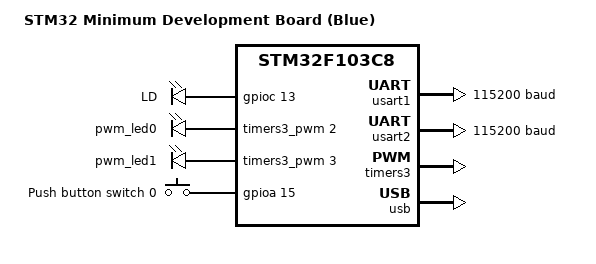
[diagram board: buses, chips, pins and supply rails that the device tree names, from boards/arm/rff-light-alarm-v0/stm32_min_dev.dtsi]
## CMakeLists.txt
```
cmake_minimum_required(VERSION 3.13.1)

set(BOARD_ROOT ${CMAKE_CURRENT_LIST_DIR})
set(BOARD rff-light-alarm-v0)

include($ENV{ZEPHYR_BASE}/cmake/app/boilerplate.cmake NO_POLICY_SCOPE)
project(light-alarm)

target_compile_options(app PRIVATE "-lm")

target_link_libraries(app PUBLIC -lm)
#target_link_libraries(app PUBLIC -lc)
target_link_libraries(app PUBLIC -lgcc)


# Add your source file to the "app" target. This must come after
# the boilerplate code, which defines the target.
target_sources(app PRIVATE src/main.c)
target_sources(app PRIVATE src/button-ctl.c)
target_sources(app PRIVATE src/status-led-ctl.c)
target_sources(app PRIVATE src/bt/bt-hm11-ctl.c)
target_sources(app PRIVATE src/pwm/tim3-pwm.c)
target_sources(app PRIVATE src/rtc/rtc-ctl.c)
target_sources(app PRIVATE src/brightness-model/brightness-model.c)
```

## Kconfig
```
# Config for counter alarm sample

# Copyright (c) 2020 RustyFennecFox (RFF)
# SPDX-License-Identifier: Apache-2.0

mainmenu "RFF light alarrm application"

config ALARM_TESTING_SESSION
	bool "Set default delays values for manual testing"
	help
	  Set default values of rise time, hold max/mid time for manual testing

source "Kconfig.zephyr"
```

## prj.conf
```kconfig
CONFIG_STDOUT_CONSOLE=y
CONFIG_PRINTK=y
# CONFIG_PWM is not set
CONFIG_LOG=y

CONFIG_UART_2=y
CONFIG_UART_INTERRUPT_DRIVEN=y

CONFIG_NEWLIB_LIBC=y
CONFIG_STACK_SENTINEL=y
```

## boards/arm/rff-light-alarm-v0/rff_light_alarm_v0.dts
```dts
/*
 * Copyright (c) 2019, embedjournal.com
 *
 * SPDX-License-Identifier: Apache-2.0
 */

/dts-v1/;
#include <st/f1/stm32f103X8.dtsi>

/ {
	model = "STM32 Minimum Development Board (Blue)";
	compatible = "st,stm32_min_dev_blue", "st,stm32f103c8";

	chosen {
		zephyr,console = &usart1;
		zephyr,shell-uart = &usart1;
		zephyr,sram = &sram0;
		zephyr,flash = &flash0;
	};

	leds {
		compatible = "gpio-leds";
		led: led {
			gpios = <&gpioc 13 GPIO_INT_ACTIVE_HIGH>;
			label = "LD";
		};
	};

//	pwmleds {
//		compatible = "pwm-leds";
//		pwm_led0: pwm_led_0 {
//			pwms = <&timers3_pwm 2 1000>;
//		};
//		pwm_led1: pwm_led_1 {
//			pwms = <&timers3_pwm 3 1000>;
//		};
//	};

	buttons {
		compatible = "gpio-keys";
		button0: button_0 {
			gpios = <&gpioa 15 GPIO_INT_ACTIVE_HIGH>;
			label = "Push button switch 0";
		};
	};

	aliases {
		led0 = &led;
		sw0 = &button0;
//		pwm-led0 = &pwm_led0;
//		pwm-led1 = &pwm_led1;
	};
};

&usart1 {
	current-speed = <115200>;
	status = "okay";
};

&usart2 {
	current-speed = <9600>;
	status = "okay";
};

&usart3 {
	current-speed = <115200>;
	status = "disabled";
};

&i2c1 {
	status = "disabled";
	clock-frequency = <I2C_BITRATE_FAST>;
};

&i2c2 {
	status = "disabled";
	clock-frequency = <I2C_BITRATE_FAST>;
};

&spi1 {
	status = "disabled";
};

&spi2 {
	status = "disabled";
};

&timers1 {
	status = "disabled";

	pwm {
		status = "disabled";
	};
};

//&timers3 {
//	status = "okay";
//
//	timers3_pwm: pwm {
//		status = "okay";
//	};
//};

&usb {
	status = "okay";
};
```

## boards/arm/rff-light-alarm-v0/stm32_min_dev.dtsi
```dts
/*
 * Copyright (c) 2019, embedjournal.com
 *
 * SPDX-License-Identifier: Apache-2.0
 */

/dts-v1/;
#include <st/f1/stm32f103X8.dtsi>

/ {
	model = "STM32 Minimum Development Board (Blue)";
	compatible = "st,stm32_min_dev_blue", "st,stm32f103c8";

	chosen {
		zephyr,console = &usart1;
		zephyr,shell-uart = &usart1;
		zephyr,sram = &sram0;
		zephyr,flash = &flash0;
	};

	leds {
		compatible = "gpio-leds";
		led: led {
			gpios = <&gpioc 13 GPIO_ACTIVE_HIGH>;
			label = "LD";
		};
	};

	pwmleds {
		compatible = "pwm-leds";
		pwm_led0: pwm_led_0 {
			pwms = <&timers3_pwm 2 1000000>;
		};
		pwm_led1: pwm_led_1 {
			pwms = <&timers3_pwm 3 1000000>;
		};
	};

	buttons {
		compatible = "gpio-keys";
		button0: button_0 {
			gpios = <&gpioa 15 GPIO_ACTIVE_HIGH>;
			label = "Push button switch 0";
		};
	};

	aliases {
		led0 = &led;
		sw0 = &button0;
		pwm-led0 = &pwm_led0;
		pwm-led1 = &pwm_led1;
	};
};

&usart1 {
	current-speed = <115200>;
	status = "okay";
};

&usart2 {
	current-speed = <115200>;
	status = "okay";
};

&usart3 {
	current-speed = <115200>;
	status = "disabled";
};

&i2c1 {
	status = "disabled";
	clock-frequency = <I2C_BITRATE_FAST>;
};

&i2c2 {
	status = "disabled";
	clock-frequency = <I2C_BITRATE_FAST>;
};

&spi1 {
	status = "disabled";
};

&spi2 {
	status = "disabled";
};

&timers1 {
	status = "disabled";

	pwm {
		status = "disabled";
	};
};

&timers3 {
	status = "okay";

	timers3_pwm: pwm {
		status = "okay";
	};
};

&usb {
	status = "okay";
};
```

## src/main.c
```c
#include <zephyr.h>
#include <sys/printk.h>
#include <drivers/gpio.h>
#include <sys/__assert.h>
#include <kernel.h>
#include <string.h>
#include <stdlib.h>
#include <stdio.h>

#include "pwm/tim3-pwm.h"
#include "rtc/rtc-ctl.h"
#include "brightness-model/brightness-unified-model.h"
#include "brightness-ops.h"
#include "button-ctl.h"
#include "status-led-ctl.h"
#include "bt/bt-hm11-ctl.h"
#include "alarm-params.h"
#include "lamp-params.h"
#include "core-model/core-model.h"
#include "dynamic-assert.h"


struct alarm_info {
	/* alarm thread related structures */
	struct k_thread alarm_worker_data;
	k_tid_t alarm_worker_tid;

	bool disarm_alarm;
};
K_MUTEX_DEFINE(disarm_mtx);

static struct alarm_info alarm_info;

#define ALARM_THREAD_PRIORITY		(CONFIG_NUM_PREEMPT_PRIORITIES - 1) //(CONFIG_NUM_PREEMPT_PRIORITIES - 3)
K_THREAD_STACK_DEFINE(alarm_worker_stack_area, 1024);
static void alarm_sched_worker(void *, void *, void *);


static struct core_model_params alarm_params = {
	.wait_time             = SLEEP_TIME_S - RISE_TIME_S,
	.rise_time             = RISE_TIME_S,
	.hold_max_time         = HOLD_MAXT_S, /* 15 min */
	.decrease_to_mid_time  = 10,          /* 10 sec */
	.hold_mid_time         = HOLD_MIDT_S, /* 1 hour */
	.decrease_to_zero_time = 25,          /* 25 sec */
	.disarm_hold_mid_time  = 15 * 60,     /* 15 min */
};

static bool disarm_status_check_and_reset(void)
{
	bool disarm_status = false;

	k_mutex_lock(&disarm_mtx, K_FOREVER);
	if (alarm_info.disarm_alarm) {
		alarm_info.disarm_alarm = false;
		disarm_status = true;
	}
	k_mutex_unlock(&disarm_mtx);

	return disarm_status;
}

static void led_mark_xlation(enum brightnes_value_ops brightnes_from,
			     enum brightnes_value_ops brightnes_to)
{
	/* Enable led when we change brightnes */
	led_gpio_enable_if_not_blinking(brightnes_from != brightnes_to);
}

#define ALARM_SCHED_BACKOFF_MS		100

static void rtc_watchdog(bool init, uint32_t curr_rtc)
{
	static uint32_t prev_rtc = 0, same_time_counter = 0, same_time_counter_max = 0;
	static bool triggered = false;

	uint32_t trashold = 1000 / ALARM_SCHED_BACKOFF_MS + 2;

	if (init) {
		prev_rtc = curr_rtc;
		triggered = false;
		same_time_counter = 0;
		same_time_counter_max = 0;

		return;
	}

	/* don't care about uint32_t overflow here */
	if (prev_rtc == curr_rtc)
		same_time_counter++;
	else
		same_time_counter = 0;

	prev_rtc = curr_rtc;

	if (same_time_counter >= trashold)
		triggered = true;

	if (same_time_counter > same_time_counter_max)
		same_time_counter_max = same_time_counter;

	if (triggered)
		printk("RFF: detect rtc hang for max %u times (trashold = %u)\n",
		       same_time_counter_max, trashold);
}


/* cached LAMP leds values */
static volatile uint32_t lamp_led0 = 0, lamp_led1 = 0;
static volatile bool lamp_alarm_active = false;

#define LAMP_PWM_MIN_TRASHOLD	0x2

static void raw_set_leds(uint32_t led0, uint32_t led1)
{
	TIM3->CCR4 = led0;
	TIM3->CCR3 = led1;
}

static void alarm_set_leds(uint32_t led0, uint32_t led1)
{
	/* use MAX beetwen LAMP and fired ALARM */
	raw_set_leds(led0 >= lamp_led0 ? led0 : lamp_led0,
		     led1 >= lamp_led1 ? led1 : lamp_led1);
}

static void lamp_set_leds(uint32_t led0, uint32_t led1)
{
	if (led0 <= LAMP_PWM_MIN_TRASHOLD)
		led0 = 0;

	if (led1 <= LAMP_PWM_MIN_TRASHOLD)
		led1 = 0;

	lamp_led0 = led0;
	lamp_led1 = led1;

	/* allow alarm_sched_worker to setup leds if it is active */
	if (!lamp_alarm_active)
		raw_set_leds(led0, led1);
}

static void lamp_mode_init(void)
{
	lamp_led0 = 0;
	lamp_led1 = 0;
}


static void alarm_sched_worker(void *nu0, void *nu1, void *nu2)
{
	struct core_model_io io;
	uint32_t led0, led1;

	printk("RFF: got into alarm worker, curr time %u\n", rtc_get_time());

	alarm_params.wait_time = rtc_get_alarm();
	io.atomic_alarm_info = atomic_state_get();
	io.disarm_time_adjustment = backup_data_get();

	rtc_watchdog(true, rtc_get_time());

	lamp_alarm_active = true;

	do {
		if (disarm_status_check_and_reset())
			set_disarm_new(&io);

		rtc_watchdog(false, rtc_get_time());
		do_alarm_model(rtc_get_time(), &io, &alarm_params);
		backup_data_set(io.disarm_time_adjustment);
		atomic_state_set(io.atomic_alarm_info);
		led_mark_xlation(io.brightnes_from, io.brightnes_to);
		brightness_log_xlate_to_2_auto(io.brightnes_from,
					       io.brightnes_to,
					       io.brightnes_period,
					       io.brightnes_curr_value,
					       &led0, &led1);

		alarm_set_leds(led0, led1);
		// printk("RFF: set leds 0x%04x : 0x%04x\n", led0, led1);

		k_sleep(ALARM_SCHED_BACKOFF_MS);

	} while (!alarm_finished(&io));

	lamp_alarm_active = false;
	printk("RFF: alarm finished at %u\n", rtc_get_time());
}

static inline void disarm_status_set(void)
{
	k_mutex_lock(&disarm_mtx, K_FOREVER);
	alarm_info.disarm_alarm = true;
	k_mutex_unlock(&disarm_mtx);
}

static void disarm_alarm_bt(void)
{
	printk("RFF: disarm alarm via BT\n");
	disarm_status_set();
}

static void disarm_alarm_button(void)
{
	printk("RFF: disarm alarm by button\n");
	disarm_status_set();
}

static void alarm_init_new(uint32_t sleep_time)
{
	printk("RFF: schedule new alarm for: %uh %um %us (%us)\n",
			(sleep_time / (60 * 60)),
			(sleep_time % (60 * 60)) / 60,
			(sleep_time % (60 * 60)) % 60,
			(sleep_time));

	/* other params left unchanged */
	alarm_params.wait_time = sleep_time - RISE_TIME_S;
	printk("RFF: trigger wait time: %uh %um %us (%us)\n",
			(alarm_params.wait_time / (60 * 60)),
			(alarm_params.wait_time % (60 * 60)) / 60,
			(alarm_params.wait_time % (60 * 60)) % 60,
			(alarm_params.wait_time));

	backup_data_set(0);
	atomic_state_set(A_ALARM_NEW);
	rtc_set_alarm(alarm_params.wait_time);
}

static void alarm_powerfault_restore(void)
{
	printk("RFF: repair alarm after power fault\n");

	dynamic_assert(!alarm_info.alarm_worker_tid);

	k_mutex_init(&disarm_mtx);
	alarm_info.disarm_alarm = false;

	alarm_info.alarm_worker_tid = k_thread_create(&alarm_info.alarm_worker_data,
					alarm_worker_stack_area,
					K_THREAD_STACK_SIZEOF(alarm_worker_stack_area),
					alarm_sched_worker,
					NULL, NULL, NULL,
					ALARM_THREAD_PRIORITY, 0, K_NO_WAIT);
}

static void alarm_init_new_new(uint32_t sleep_time)
{
	printk("RFF: start new alarm for sleep time %us\n", sleep_time);

	dynamic_assert(sleep_time >= RISE_TIME_S);

	//TODO: use manual temination instead of abort
	if (alarm_info.alarm_worker_tid) {
		printk("RFF: drop previous alarm worker as we are starting new one\n");
		k_thread_abort(alarm_info.alarm_worker_tid);
	}

	led_gpio_blink(20, 30, 250);

	k_mutex_init(&disarm_mtx);
	alarm_info.disarm_alarm = false;

	alarm_init_new(sleep_time);
	alarm_info.alarm_worker_tid = k_thread_create(&alarm_info.alarm_worker_data,
					alarm_worker_stack_area,
					K_THREAD_STACK_SIZEOF(alarm_worker_stack_area),
					alarm_sched_worker,
					NULL, NULL, NULL,
					ALARM_THREAD_PRIORITY, 0, K_NO_WAIT);
}


/* After POR if button is pressed - user wants new alarm with default values */
static void check_for_alarm(void)
{
	if (button_get_state() == BUTTON_STATE_PRESSED)
		alarm_init_new_new(SLEEP_TIME_S);
	else if (!(atomic_state_get() & A_ALARM_FINISHED))
		alarm_powerfault_restore();
}

static void send_alarm_info_hank(const char *respond)
{
	printk("RFF: alarm_info: %s\n", respond);
	hm11_send_cmd_respond(respond);
}

static void send_alarm_info(void)
{
	if (atomic_state_get() & A_ALARM_FINISHED) {
		send_alarm_info_hank("NO ALARM");
	} else {
		char str[RESPOND_BUFF_SZ];
		uint32_t curr_time, remind_time = 0;
		uint32_t sleep_time = alarm_params.wait_time + alarm_params.rise_time;

		curr_time = rtc_get_time();

		if (sleep_time > curr_time)
			remind_time = sleep_time - curr_time;
		else
			remind_time = 0;

		/* time remains before wake up */
		snprintf(str, RESPOND_BUFF_SZ, "REM %u:%u:%u",
			 (remind_time / (60 * 60)),
			 ((remind_time % (60 * 60)) / 60),
			 ((remind_time % (60 * 60)) % 60));

		send_alarm_info_hank(str);
		/* hacks for nRF Connect users :) */
		k_sleep(3000);

		if (alarm_params.wait_time > curr_time)
			remind_time = alarm_params.wait_time - curr_time;
		else
			remind_time = 0;

		/* time remains before rise */
		snprintf(str, RESPOND_BUFF_SZ, "wREM %u:%u:%u",
			 (remind_time / (60 * 60)),
			 ((remind_time % (60 * 60)) / 60),
			 ((remind_time % (60 * 60)) % 60));

		send_alarm_info_hank(str);
		/* hacks for nRF Connect users :) */
		k_sleep(3000);

		snprintf(str, RESPOND_BUFF_SZ, "SLEEP %u:%u",
			 (sleep_time / (60 * 60)),
			 ((sleep_time % (60 * 60)) / 60));

		send_alarm_info_hank(str);
		/* hacks for nRF Connect users :) */
		k_sleep(3000);

		snprintf(str, RESPOND_BUFF_SZ, "CURRt %u:%u:%u",
			 (curr_time / (60 * 60)),
			 ((curr_time % (60 * 60)) / 60),
			 ((curr_time % (60 * 60)) % 60));

		send_alarm_info_hank(str);
	}
}

/* disarm lamp after LAMP_DURATION_MAX_S of inactivity */
void lamp_timer_handler(struct k_timer *dummy)
{
	lamp_set_leds(0, 0);
	printk("RFF: LAMP disarmed\n");
}

K_TIMER_DEFINE(lamp_timer, lamp_timer_handler, NULL);

static void lamp_set_max_timer(void)
{
	k_timer_start(&lamp_timer, K_SECONDS(LAMP_DURATION_MAX_S), K_NO_WAIT);
}

static void alarm_lamp_mode(uint32_t brightnes, enum lamp_type type)
{
	uint32_t led0, led1;

	if (brightnes > 100)
		return;

	brightness_log_xlate_to_2(BRIGHTNESS_OFF,
				  BRIGHTNESS_MAX,
				  type == LAMP_PARALLEL ? B_LED_PARALLEL : B_LED_SEQUENTIAL,
				  101, /* 0% to 100% */
				  brightnes,
				  &led0, &led1);

	/* disarm lamp after LAMP_DURATION_MAX_S of inactivity */
	lamp_set_max_timer();

	if (type == LAMP_SEQUENTAL_COLD)
		lamp_set_leds(led1, led0);
	else
		lamp_set_leds(led0, led1);

	printk("RFF: set lamp brightnes to %u, %s, pwm: %x:%x\n", brightnes,
		type == LAMP_PARALLEL ? "parallel" :
		type == LAMP_SEQUENTAL_WARM ? "sequental warm" : "sequental cold",
		TIM3->CCR4, TIM3->CCR3);
}

void main(void)
{
	printk("RFF: Hello World! %s\n", CONFIG_BOARD);

	printk("%s alarm params: default SLEEP_TIME_S %u:%u:%u, RISE_TIME %u m, HOLD_TIME %u m\n",
			IS_ENABLED(CONFIG_ALARM_TESTING_SESSION) ? "  ** test launch **  " : "RFF:",
			SLEEP_TIME_S / (60 * 60), (SLEEP_TIME_S % (60 * 60)) / 60,
			(SLEEP_TIME_S % (60 * 60)) % 60,
			RISE_TIME_S / 60, HOLD_MAXT_S / 60);

	rtc_init(A_ALARM_POR_VALUE);
	button_io_init(true, disarm_alarm_button);
	button_print_debug();
	bt_uart_init();
	signal_led_init();
	lamp_mode_init();
	timer3_pwm_init();

	check_for_alarm();

	hm11_init();

	while (1) {
		bt_host_packet_t host_pkt_curr;
		int ret;

		ret = hm11_wait_for_host_pkt(&host_pkt_curr);
		if (ret)
			continue;

		if (host_pkt_curr.packet_s.command == HOST_CMD_LAMP_MODE)
			alarm_lamp_mode(host_pkt_curr.packet_s.payload_lamp.brightnes,
					host_pkt_curr.packet_s.payload_lamp.lamp_type);
		else if (host_pkt_curr.packet_s.command == HOST_CMD_SCHEDULE_ALARM)
			alarm_init_new_new(host_pkt_curr.packet_s.payload_32b);
		else if (host_pkt_curr.packet_s.command == HOST_CMD_DISARM_ALARM)
			disarm_alarm_bt();
		else if (host_pkt_curr.packet_s.command == HOST_CMD_COMMON_INFO)
			send_alarm_info();
		/* Other command (HOST_CMD_PING) doesn't requre special handling
		 * and fully processed in hm11_wait_for_host_cmd */
	}
}
```

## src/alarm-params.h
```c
#ifndef ALARM_PARAMS_H_
#define ALARM_PARAMS_H_

#ifdef CONFIG_ALARM_TESTING_SESSION

#define RISE_TIME_S		30
#define HOLD_MAXT_S		30
#define HOLD_MIDT_S		40

#else

#define RISE_TIME_S		(20 * 60)
#define HOLD_MAXT_S		(52 * 60)
#define HOLD_MIDT_S		(60 * 60)

#endif /* CONFIG_ALARM_TESTING_SESSION */

#define SLEEP_TIME_MIN		30
#define SLEEP_TIME_HOURS	7

#define SLEEP_TIME_S		((SLEEP_TIME_HOURS * 60 + SLEEP_TIME_MIN) * 60)

#endif
```

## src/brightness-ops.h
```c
#ifndef BRIGHTNESS_OPS_H_
#define BRIGHTNESS_OPS_H_

enum brightnes_value_ops {
	BRIGHTNESS_OFF = 0,
	BRIGHTNESS_MID,
	BRIGHTNESS_MAX,
	/* Use current brightnes from HW or BRIGHTNESS_OFF in case this value is missing
	 * Used only for user interructions - disarming */
	BRIGHTNESS_THIS_OR_OFF
};

enum brightnes_geometry_ops {
	B_LED_AUTO = 0,
	B_LED_PARALLEL,
	B_LED_SEQUENTIAL
};

#endif
```

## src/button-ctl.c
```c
#include "button-ctl.h"

#include <drivers/gpio.h>
#include <sys/printk.h>

#ifdef BUTTON_DEBUG_LOG
#define log_info(fmt, ...) ({ printk(fmt, ##__VA_ARGS__); })
#else
#define log_info(fmt, ...)
#endif


/* ULL defines are stil missing in zephyr 2.2.0 */
#define __AC(X,Y)	(X##Y)
#define _AC(X,Y)	__AC(X,Y)
#define _ULL(x)		(_AC(x, ULL))
#define ULL(x)		(_ULL(x))
#define BITS_PER_LONG_LONG 64
#define GENMASK_ULL(h, l) \
	(((~ULL(0)) - (ULL(1) << (l)) + 1) & \
	 (~ULL(0) >> (BITS_PER_LONG_LONG - 1 - (h))))

#define BUTTON_READS_STD		7
/* about 0.2 sec (50) at least */
#define BUTTON_READS_STD_TRASHOLD	4
#define BUTTON_READS_LONG		63
/* about 2.85 sec (50) at least */
#define BUTTON_READS_LONG_TRASHOLD	57

#define READ_PERIOD			25

static struct device *button_gpio_dev;
/* HACK: we mark previous states of button as unknown so first button after POR
 * won't call long callback in any case */
static volatile enum button_state button_state = BUTTON_STATE_POR_UNKNOWN;
static volatile enum button_state button_prew_state = BUTTON_STATE_POR_UNKNOWN;
static u64_t reads_raw;
static void (*long_pressed_cb_fn)(void);

static void button_init(void)
{
	button_gpio_dev = device_get_binding(DT_ALIAS_SW0_GPIOS_CONTROLLER);
	__ASSERT(button_gpio_dev, "BUTTON device is NULL");

	gpio_pin_configure(button_gpio_dev, DT_ALIAS_SW0_GPIOS_PIN,
			   GPIO_INPUT | GPIO_PULL_UP);
}

static inline bool button_raw_read(void)
{
	return !gpio_pin_get(button_gpio_dev, DT_ALIAS_SW0_GPIOS_PIN);
}

static inline void button_raw_fill(void)
{
	bool pressed = button_raw_read();

	reads_raw <<= 1;
	reads_raw |= pressed;
}

static inline void call_for_long_cb(void)
{
	printk("RFF: button: got long press\n");

	if (long_pressed_cb_fn)
		long_pressed_cb_fn();
}

static inline void button_raw_process(void)
{
	enum button_state new_state;
	enum button_state prew_prew_state;

	if (__builtin_popcountll(reads_raw & GENMASK_ULL(BUTTON_READS_LONG, 0)) >= BUTTON_READS_LONG_TRASHOLD)
		new_state = BUTTON_STATE_PRESSED_LONG;
	else if (__builtin_popcountll(reads_raw & GENMASK_ULL(BUTTON_READS_STD, 0)) >= BUTTON_READS_STD_TRASHOLD)
		new_state = BUTTON_STATE_PRESSED;
	else
		new_state = BUTTON_STATE_NOT_PRESSED;

	if (button_state != new_state) {
		prew_prew_state = button_prew_state;
		button_prew_state = button_state;
		button_state = new_state;
		log_info("RFF: prew_prew_state %u new_state %u\n", prew_prew_state, new_state);

		if (prew_prew_state == BUTTON_STATE_NOT_PRESSED && new_state == BUTTON_STATE_PRESSED_LONG)
			call_for_long_cb();
	}
}

static void button_ctl_worker(void)
{
	printk("RFF: got into button ctl worker\n");

	while (true) {
		// printk("* button worker\n");
		button_raw_fill();
		button_raw_process();

		k_sleep(READ_PERIOD);
	}
}

/* read button enough times to determine state: PRESSED / NOT_PRESSED. We don't
 * support PRESSED_LONG here. */
static void fill_button_read_pool(void)
{
	for (int i = 0; i < BUTTON_READS_STD; i++) {
		button_raw_fill();
		k_sleep(READ_PERIOD);
	}

	button_raw_process();
}

/* max priority */
#define BUTTON_CTL_THREAD_PRIORITY	(CONFIG_MAIN_THREAD_PRIORITY - 5)
//#define BUTTON_CTL_THREAD_PRIORITY	(CONFIG_NUM_PREEMPT_PRIORITIES - 5)
#define BUTTON_CTL_THREAD_STACKSIZE	400

/* define thread with K_FOREVER, we will start it manually */
K_THREAD_DEFINE(button_ctl_worker_th, BUTTON_CTL_THREAD_STACKSIZE, button_ctl_worker,
		NULL, NULL, NULL,
		BUTTON_CTL_THREAD_PRIORITY, 0, K_FOREVER);

void button_io_init(bool sync, void (*long_pressed_cb)(void))
{
	long_pressed_cb_fn = long_pressed_cb;

	button_init();
	if (sync)
		fill_button_read_pool();
	k_thread_start(button_ctl_worker_th);
}

enum button_state button_get_state(void)
{
	return button_state;
}

void button_print_debug(void)
{
	u64_t _reads_raw = reads_raw;
	enum button_state state = button_state;

	printk("RFF: button: raw %16llx (%2u of %u, %2u of %u) state %s \n",
		_reads_raw,
		__builtin_popcountll(_reads_raw & GENMASK_ULL(BUTTON_READS_LONG, 0)),
		BUTTON_READS_LONG_TRASHOLD,
		__builtin_popcountll(_reads_raw & GENMASK_ULL(BUTTON_READS_STD, 0)),
		BUTTON_READS_STD_TRASHOLD,
		(state == BUTTON_STATE_PRESSED_LONG) ? "pressed long" :
		(state == BUTTON_STATE_PRESSED) ? "pressed short" : "not pressed");
}
```

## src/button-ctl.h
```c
#ifndef BUTTON_CTL_H_
#define BUTTON_CTL_H_

enum button_state {
	BUTTON_STATE_NOT_PRESSED = 0,
	BUTTON_STATE_PRESSED,
	BUTTON_STATE_PRESSED_LONG
};

void button_io_init(void);
enum button_state button_get_state(void);

#endif
```

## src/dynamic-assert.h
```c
#ifndef DYNAMIC_ASSERT_H_
#define DYNAMIC_ASSERT_H_

#include <sys/printk.h>
#include "rtc/rtc-ctl.h"

#define dynamic_assert(cond_true) ({											\
	if (!(cond_true)) {												\
		uint32_t time = rtc_get_time();										\
		while (true) {												\
			printk(" ! assert: (%s), %s %d, time %u\n", #cond_true, __func__, __LINE__, time);		\
		}													\
	}														\
})

#endif
```

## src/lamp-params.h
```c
#ifndef LAMP_PARAMS_H_
#define LAMP_PARAMS_H_

#define LAMP_DURATION_MAX_S	4 * 60 * 60

#endif
```

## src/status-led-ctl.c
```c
#include "status-led-ctl.h"

#include <drivers/gpio.h>
#include <sys/printk.h>

static void signal_led_worker(void);

static struct signal_led_ctx {
	/* private */
	struct device		*gpio_dev;

	/* public */
	u16_t			led_on_time;
	u16_t			led_off_time;
	u16_t			led_blink_count;
} signal_led;

/* minimum priority */
#define SIGNAL_LED_THREAD_PRIORITY	(CONFIG_NUM_PREEMPT_PRIORITIES - 2)
#define SIGNAL_LED_THREAD_STACKSIZE	400
#define SIGNAL_LED_PIN			DT_ALIAS_LED0_GPIOS_PIN

/* define thread with K_FOREVER, we will start it manually */
K_THREAD_DEFINE(led_worker_th, SIGNAL_LED_THREAD_STACKSIZE, signal_led_worker,
		NULL, NULL, NULL,
		SIGNAL_LED_THREAD_PRIORITY, 0, K_FOREVER);

void signal_led_init(void)
{
	signal_led.gpio_dev = device_get_binding(DT_ALIAS_LED0_GPIOS_CONTROLLER);
	__ASSERT(signal_led.gpio_dev, "Signal LED GPIO device is NULL");

	gpio_pin_configure(signal_led.gpio_dev, SIGNAL_LED_PIN, GPIO_OUTPUT);

	/* LED off by default */
	gpio_pin_set(signal_led.gpio_dev, SIGNAL_LED_PIN, 1);

	signal_led.led_blink_count = 0;
	signal_led.led_on_time = 1000;
	signal_led.led_off_time = 1000;

	/* FIXME: according to code we can suspend thread before start,
	 * however it isn't documented */
	k_thread_suspend(led_worker_th);
	k_thread_start(led_worker_th);
}

void led_gpio_enable(bool on)
{
	// TODO: do we need to check if thred is running
	/* suspend in case of led is already blinking? */
	k_thread_suspend(led_worker_th);

	printk("RFF: led gpio thread: %s\n", k_thread_state_str(led_worker_th));

	if (on)
		gpio_pin_set(signal_led.gpio_dev, SIGNAL_LED_PIN, 0);
	else
		gpio_pin_set(signal_led.gpio_dev, SIGNAL_LED_PIN, 1);
}

void led_gpio_blink(u16_t on, u16_t off, u16_t count)
{
	// TODO: do we need to check if thred is running
	/* suspend in case of led is already blinking */
	k_thread_suspend(led_worker_th);

	signal_led.led_blink_count = count;
	signal_led.led_on_time = on;
	signal_led.led_off_time = off;

	k_thread_resume(led_worker_th);
}

static void signal_led_worker(void)
{
	while (true) {
		printk("RFF: got into led blink worker\n");

		while (signal_led.led_blink_count--) {
			gpio_pin_set(signal_led.gpio_dev, SIGNAL_LED_PIN, 0);
			k_sleep(signal_led.led_on_time);
			gpio_pin_set(signal_led.gpio_dev, SIGNAL_LED_PIN, 1);
			k_sleep(signal_led.led_off_time);
		}

		k_thread_suspend(led_worker_th);
	}
}
```

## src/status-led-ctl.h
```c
#ifndef STSTUS_LED_CTL_H_
#define STSTUS_LED_CTL_H_

#include <soc.h>

void signal_led_init(void);
void led_gpio_enable(bool on);
void led_gpio_enable_if_not_blinking(bool on);
void led_gpio_blink(u16_t on, u16_t off, u16_t count);

#endif
```
